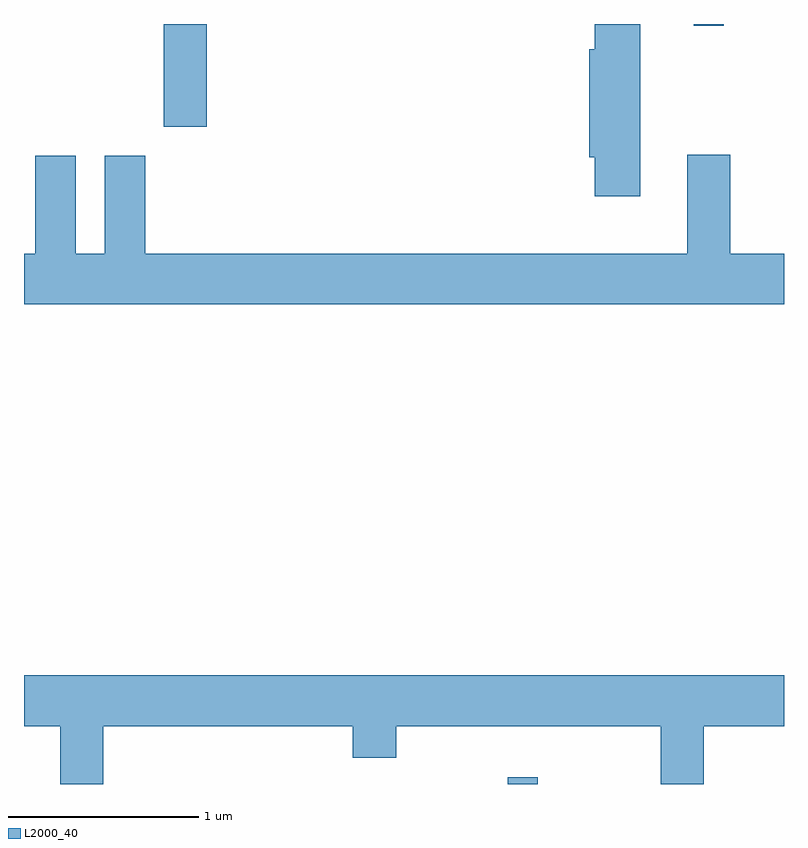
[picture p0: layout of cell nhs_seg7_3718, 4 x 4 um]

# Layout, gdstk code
import gdstk
lib = gdstk.Library(unit=1e-6, precision=1e-09)
def R(c, l, rs):  # rectangles x0, y0, x1, y1
    for r in rs: c.add(gdstk.rectangle(r[:2], r[2:], *l))
def P(c, l, *ps):  # polygons
    for p in ps: c.add(gdstk.Polygon(p, *l))
L2000_40 = (2000, 40)

nhs_seg7_3718 = lib.new_cell('nhs_seg7_3718')
R(nhs_seg7_3718, L2000_40, [(302.156,1696.252,302.314,1696.288), (300.346,1699.711,300.574,1700.252), (303.136,1700.243,303.294,1700.252)])
P(nhs_seg7_3718, L2000_40, [(302.854,1700.252),(302.616,1700.252),(302.616,1700.119),(302.586,1700.119),(302.586,1699.551),(302.616,1699.551),(302.616,1699.346),(302.854,1699.346)],
  [(303.611,1699.044),(303.329,1699.044),(303.329,1699.564),(303.101,1699.564),(303.101,1699.044),(300.249,1699.044),(300.249,1699.559),(300.036,1699.559),(300.036,1699.044),(299.884,1699.044),(299.884,1699.559),(299.671,1699.559),(299.671,1699.044),(299.611,1699.044),(299.611,1698.776),(303.611,1698.776)],
  [(300.029,1696.556),(301.341,1696.556),(301.341,1696.391),(301.569,1696.391),(301.569,1696.556),(302.961,1696.556),(302.961,1696.252),(303.189,1696.252),(303.189,1696.556),(303.611,1696.556),(303.611,1696.824),(299.611,1696.824),(299.611,1696.556),(299.801,1696.556),(299.801,1696.252),(300.029,1696.252)])

lib.write_gds('nhs_seg7_3718.gds')
